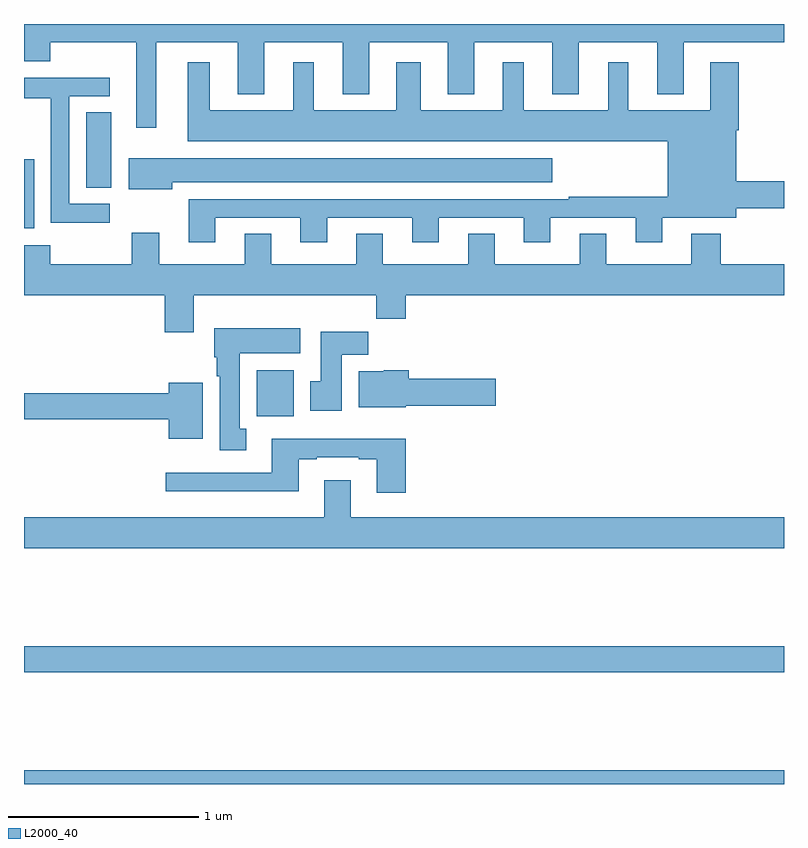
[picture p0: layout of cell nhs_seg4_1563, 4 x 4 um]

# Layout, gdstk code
import gdstk
lib = gdstk.Library(unit=1e-6, precision=1e-09)
def R(c, l, rs):  # rectangles x0, y0, x1, y1
    for r in rs: c.add(gdstk.rectangle(r[:2], r[2:], *l))
def P(c, l, *ps):  # polygons
    for p in ps: c.add(gdstk.Polygon(p, *l))
L2000_40 = (2000, 40)

nhs_seg4_1563 = lib.new_cell('nhs_seg4_1563')
R(nhs_seg4_1563, L2000_40, [(191,808.9,195,808.972), (191,809.488,195,809.624), (192.224,810.836,192.421,811.078), (191,811.826,191.053,812.187), (191.327,812.038,191.458,812.435)])
P(nhs_seg4_1563, L2000_40, [(191.695,812.804),(192.125,812.804),(192.125,812.531),(192.265,812.531),(192.265,812.804),(192.677,812.804),(192.677,812.531),(192.817,812.531),(192.817,812.804),(193.229,812.804),(193.229,812.531),(193.369,812.531),(193.369,812.804),(193.781,812.804),(193.781,812.531),(193.921,812.531),(193.921,812.804),(194.333,812.804),(194.333,812.531),(194.473,812.531),(194.473,812.804),(195,812.804),(195,812.9),(191,812.9),(191,812.705),(191.139,812.705),(191.139,812.804),(191.591,812.804),(191.591,812.355),(191.695,812.355)],
  [(192.007,811.881),(192.455,811.881),(192.455,811.752),(192.595,811.752),(192.595,811.881),(193.043,811.881),(193.043,811.752),(193.183,811.752),(193.183,811.881),(193.631,811.881),(193.631,811.752),(193.771,811.752),(193.771,811.881),(194.219,811.881),(194.219,811.752),(194.359,811.752),(194.359,811.88),(194.749,811.88),(194.749,811.93),(195,811.93),(195,812.072),(194.749,812.072),(194.749,812.342),(194.762,812.342),(194.762,812.698),(194.612,812.698),(194.612,812.446),(194.179,812.446),(194.179,812.698),(194.075,812.698),(194.075,812.446),(193.63,812.446),(193.63,812.698),(193.52,812.698),(193.52,812.446),(193.087,812.446),(193.087,812.698),(192.959,812.698),(192.959,812.446),(192.526,812.446),(192.526,812.698),(192.416,812.698),(192.416,812.446),(191.977,812.446),(191.977,812.698),(191.861,812.698),(191.861,812.282),(194.387,812.282),(194.387,811.99),(193.867,811.99),(193.867,811.977),(191.867,811.977),(191.867,811.752),(192.007,811.752)],
  [(191.452,811.953),(191.238,811.953),(191.238,812.52),(191.452,812.52),(191.452,812.616),(191,812.616),(191,812.508),(191.14,812.508),(191.14,812.284),(191.142,812.284),(191.142,811.855),(191.452,811.855)],
  [(191.779,812.066),(193.78,812.066),(193.78,812.194),(191.55,812.194),(191.55,812.03),(191.779,812.03)],
  [(192.853,811.348),(193.01,811.348),(193.01,811.472),(195,811.472),(195,811.636),(194.666,811.636),(194.666,811.795),(194.513,811.795),(194.513,811.636),(194.065,811.636),(194.065,811.796),(193.925,811.796),(193.925,811.636),(193.477,811.636),(193.477,811.796),(193.337,811.796),(193.337,811.636),(192.889,811.636),(192.889,811.796),(192.749,811.796),(192.749,811.636),(192.301,811.636),(192.301,811.796),(192.161,811.796),(192.161,811.636),(191.713,811.636),(191.713,811.801),(191.566,811.801),(191.566,811.636),(191.139,811.636),(191.139,811.735),(191,811.735),(191,811.472),(191.741,811.472),(191.741,811.278),(191.893,811.278),(191.893,811.472),(192.853,811.472)],
  [(192.169,810.77),(192.136,810.77),(192.136,811.166),(192.454,811.166),(192.454,811.3),(192.002,811.3),(192.002,811.146),(192.014,811.146),(192.014,811.046),(192.029,811.046),(192.029,810.657),(192.169,810.657)],
  [(192.673,811.16),(192.812,811.16),(192.812,811.279),(192.563,811.279),(192.563,811.02),(192.506,811.02),(192.506,810.864),(192.673,810.864)],
  [(193.008,810.89),(193.483,810.89),(193.483,811.032),(193.025,811.032),(193.025,811.078),(192.894,811.078),(192.894,811.072),(192.761,811.072),(192.761,810.884),(193.008,810.884)],
  [(191.941,811.012),(191.762,811.012),(191.762,810.956),(191,810.956),(191,810.82),(191.762,810.82),(191.762,810.716),(191.941,810.716)],
  [(193.01,810.718),(192.305,810.718),(192.305,810.537),(191.745,810.537),(191.745,810.44),(192.445,810.44),(192.445,810.609),(192.541,810.609),(192.541,810.621),(192.761,810.621),(192.761,810.609),(192.857,810.609),(192.857,810.432),(193.01,810.432)],
  [(195,810.304),(192.721,810.304),(192.721,810.499),(192.581,810.499),(192.581,810.304),(191,810.304),(191,810.14),(195,810.14)])

lib.write_gds('nhs_seg4_1563.gds')
